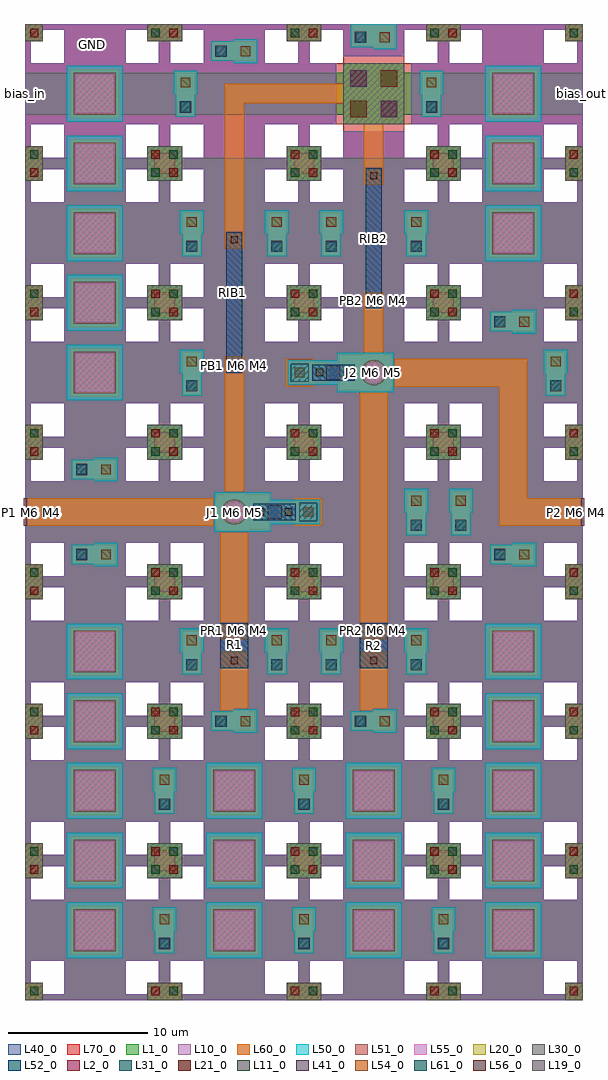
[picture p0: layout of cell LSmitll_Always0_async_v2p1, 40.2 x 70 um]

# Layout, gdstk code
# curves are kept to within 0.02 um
from math import pi, radians
import gdstk
lib = gdstk.Library(unit=1e-6, precision=1e-09)
def R(c, l, rs):  # rectangles x0, y0, x1, y1
    for r in rs: c.add(gdstk.rectangle(r[:2], r[2:], *l))
def P(c, l, *ps):  # polygons
    for p in ps: c.add(gdstk.Polygon(p, *l))
L1_0 = (1, 0)
L2_0 = (2, 0)
L10_0 = (10, 0)
L11_0 = (11, 0)
L19_0 = (19, 0)
L20_0 = (20, 0)
L21_0 = (21, 0)
L30_0 = (30, 0)
L31_0 = (31, 0)
L40_0 = (40, 0)
L41_0 = (41, 0)
L50_0 = (50, 0)
L51_0 = (51, 0)
L52_0 = (52, 0)
L54_0 = (54, 0)
L55_0 = (55, 0)
L56_0 = (56, 0)
L60_0 = (60, 0)
L61_0 = (61, 0)
L70_0 = (70, 0)

ls_fakejj_1p5x1p5um = lib.new_cell('ls_FakeJJ_1p5x1p5um')
R(ls_fakejj_1p5x1p5um, L40_0, [(-1.25,-1.25,1.25,1.25)])
R(ls_fakejj_1p5x1p5um, L50_0, [(-1.25,-1.25,1.25,1.25)])
R(ls_fakejj_1p5x1p5um, L51_0, [(-0.75,-0.75,0.75,0.75)])
R(ls_fakejj_1p5x1p5um, L55_0, [(-0.65,-0.65,0.65,0.65)])
R(ls_fakejj_1p5x1p5um, L60_0, [(-1,-1,1,1)])

ls_conn_m5m6m7 = lib.new_cell('ls_conn_M5M6M7')
R(ls_conn_m5m6m7, L50_0, [(-0.5,-0.5,1.2,1.2)])
R(ls_conn_m5m6m7, L54_0, [(0,0,0.7,0.7)])
R(ls_conn_m5m6m7, L60_0, [(-0.65,-0.65,1.35,1.35)])
R(ls_conn_m5m6m7, L61_0, [(-0.3,-0.3,1,1)])
R(ls_conn_m5m6m7, L70_0, [(-0.65,-0.65,1.35,1.35)])

ls_jj_250_sg = lib.new_cell('ls_jj_250_sg')
R(ls_jj_250_sg, L41_0, [(-0.5,2.4,0.5,3.4)])
R(ls_jj_250_sg, L50_0, [(-1.425,-1.425,1.425,2.625), (-0.875,2.625,0.875,6.175)])
P(ls_jj_250_sg, L51_0, [(0,-0.91),(-0.18,-0.895),(-0.35,-0.84),(-0.645,-0.645),(-0.84,-0.35),(-0.91,0),(-0.895,0.18),(-0.84,0.35),(-0.645,0.645),(-0.35,0.84),(-0.18,0.895),(0,0.91),(0.18,0.895),(0.35,0.84),(0.645,0.645),(0.84,0.35),(0.895,0.18),(0.91,0),(0.84,-0.35),(0.645,-0.645),(0.35,-0.84),(0.18,-0.895)])
R(ls_jj_250_sg, L52_0, [(-0.575,1.35,0.575,4.425)])
R(ls_jj_250_sg, L54_0, [(-0.35,4.95,0.35,5.65)])
P(ls_jj_250_sg, L55_0, [(0,-0.76),(-0.15,-0.75),(-0.29,-0.7),(-0.54,-0.54),(-0.7,-0.29),(-0.75,-0.15),(-0.76,0),(-0.75,0.15),(-0.7,0.29),(-0.54,0.54),(-0.29,0.7),(-0.15,0.75),(0,0.76),(0.15,0.75),(0.29,0.7),(0.54,0.54),(0.7,0.29),(0.75,0.15),(0.76,0),(0.75,-0.15),(0.7,-0.29),(0.54,-0.54),(0.29,-0.7),(0.15,-0.75)])
R(ls_jj_250_sg, L56_0, [(-0.26,1.64,0.26,2.16), (-0.26,3.63,0.26,4.15)])
R(ls_jj_250_sg, L60_0, [(-1.275,-1.275,1.275,2.525), (-0.725,3.25,0.725,6.025)])
ls_jj_250_sg.add(gdstk.Reference(ls_conn_m5m6m7, (-0.35,4.95)))

ls_tr_m7 = lib.new_cell('ls_tr_M7')
P(ls_tr_m7, L70_0, [(0,0),(0,10),(1.25,10),(1.25,8.75),(0.4,8.75),(0.4,1.25),(1.25,1.25),(1.25,0.4),(2.8,0.4),(2.8,2.8),(0.4,2.8),(0.4,7.2),(2.8,7.2),(2.8,9.6),(1.25,9.6),(1.25,10),(7.2,10),(7.2,0.4),(8.75,0.4),(8.75,1.25),(9.6,1.25),(9.6,2.8),(7.2,2.8),(7.2,7.2),(9.6,7.2),(9.6,8.75),(8.75,8.75),(8.75,9.6),(7.2,9.6),(7.2,10),(10,10),(10,0)])

ls_tr_u_m4_alt = lib.new_cell('ls_tr_u_M4_alt')
R(ls_tr_u_m4_alt, L1_0, [(0,0,1.25,1.25), (8.75,0,10,1.25), (0,8.75,1.25,10), (8.75,8.75,10,10)])
R(ls_tr_u_m4_alt, L2_0, [(9.05,0.35,9.65,0.95), (0.35,9.05,0.95,9.65)])
R(ls_tr_u_m4_alt, L10_0, [(0,0,1.25,1.25), (1.25,0,8.75,0.4), (8.75,0,10,1.25), (2.8,0.4,7.2,9.6), (0,1.25,0.4,8.75), (9.6,1.25,10,8.75), (0.4,2.8,2.8,7.2), (7.2,2.8,9.6,7.2), (0,8.75,1.25,10), (8.75,8.75,10,10), (1.25,9.6,8.75,10)])
R(ls_tr_u_m4_alt, L11_0, [(0.35,0.35,0.95,0.95), (9.05,9.05,9.65,9.65)])
R(ls_tr_u_m4_alt, L20_0, [(0,0,1.25,1.25), (8.75,0,10,1.25), (0,8.75,1.25,10), (8.75,8.75,10,10)])
R(ls_tr_u_m4_alt, L21_0, [(9.05,0.35,9.65,0.95), (0.35,9.05,0.95,9.65)])
R(ls_tr_u_m4_alt, L30_0, [(0,0,1.25,1.25), (8.75,0,10,1.25), (0,8.75,1.25,10), (8.75,8.75,10,10)])
R(ls_tr_u_m4_alt, L31_0, [(0.35,0.35,0.95,0.95), (9.05,9.05,9.65,9.65)])
P(ls_tr_u_m4_alt, L40_0, [(0,0),(0,10),(1.25,10),(1.25,8.75),(0.4,8.75),(0.4,1.25),(1.25,1.25),(1.25,0.4),(2.8,0.4),(2.8,2.8),(0.4,2.8),(0.4,7.2),(2.8,7.2),(2.8,9.6),(1.25,9.6),(1.25,10),(7.2,10),(7.2,0.4),(8.75,0.4),(8.75,1.25),(9.6,1.25),(9.6,2.8),(7.2,2.8),(7.2,7.2),(9.6,7.2),(9.6,8.75),(8.75,8.75),(8.75,9.6),(7.2,9.6),(7.2,10),(10,10),(10,0)])
ls_tr_u_m4_alt.add(gdstk.Reference(ls_tr_m7, (0,0)))

ls_conn_m4m5m6m7 = lib.new_cell('ls_conn_M4M5M6M7')
R(ls_conn_m4m5m6m7, L40_0, [(0,0,1.4,1.4)])
R(ls_conn_m4m5m6m7, L41_0, [(0.3,0.3,1.1,1.1)])
P(ls_conn_m4m5m6m7, L50_0, [(1.6,-0.15),(1.6,0),(0,0),(0,1.4),(1.6,1.4),(1.6,1.55),(3.3,1.55),(3.3,-0.15)])
R(ls_conn_m4m5m6m7, L54_0, [(2.1,0.35,2.8,1.05)])
R(ls_conn_m4m5m6m7, L60_0, [(0,0,3.15,1.4)])
R(ls_conn_m4m5m6m7, L61_0, [(0.35,0.35,1.05,1.05)])
R(ls_conn_m4m5m6m7, L70_0, [(0,0,1.4,1.4)])

ls_tr_m0 = lib.new_cell('ls_tr_M0')
P(ls_tr_m0, L1_0, [(0,0),(0,10),(1.25,10),(1.25,8.75),(0.4,8.75),(0.4,1.25),(1.25,1.25),(1.25,0.4),(2.8,0.4),(2.8,2.8),(0.4,2.8),(0.4,7.2),(2.8,7.2),(2.8,9.6),(1.25,9.6),(1.25,10),(7.2,10),(7.2,0.4),(8.75,0.4),(8.75,1.25),(9.6,1.25),(9.6,2.8),(7.2,2.8),(7.2,7.2),(9.6,7.2),(9.6,8.75),(8.75,8.75),(8.75,9.6),(7.2,9.6),(7.2,10),(10,10),(10,0)])

ls_ib_175 = lib.new_cell('ls_ib_175')
R(ls_ib_175, L52_0, [(-0.575,0,0.575,10.05)])
R(ls_ib_175, L56_0, [(-0.26,0.29,0.26,0.81), (-0.26,9.26,0.26,9.78)])
R(ls_ib_175, L60_0, [(-0.625,-0.1,0.625,1.175), (-0.625,8.875,0.625,10.15)])

ls_fakejj_3umx3um = lib.new_cell('ls_FakeJJ_3umx3um')
R(ls_fakejj_3umx3um, L40_0, [(-2,-2,2,2)])
R(ls_fakejj_3umx3um, L50_0, [(-2,-2,2,2)])
R(ls_fakejj_3umx3um, L51_0, [(-1.5,-1.5,1.5,1.5)])
R(ls_fakejj_3umx3um, L55_0, [(-1.4,-1.4,1.4,1.4)])
R(ls_fakejj_3umx3um, L60_0, [(-1.75,-1.75,1.75,1.75)])

ls_tr_bias_pillar_m0m6 = lib.new_cell('ls_tr_bias_pillar_M0M6')
R(ls_tr_bias_pillar_m0m6, L1_0, [(0,0,1.25,1.25), (8.75,0,10,1.25), (2.8,2.8,7.2,7.2), (0,8.75,1.25,10), (8.75,8.75,10,10)])
R(ls_tr_bias_pillar_m0m6, L2_0, [(9.05,0.35,9.65,0.95), (5.5,3.3,6.7,4.5), (3.3,5.5,4.5,6.7), (0.35,9.05,0.95,9.65)])
R(ls_tr_bias_pillar_m0m6, L10_0, [(0,0,1.25,1.25), (8.75,0,10,1.25), (2.8,2.8,7.2,7.2), (0,8.75,1.25,10), (8.75,8.75,10,10)])
P(ls_tr_bias_pillar_m0m6, L10_0, [(0,0),(0,10),(7.2,10),(7.2,7.7),(2.8,7.7),(2.8,9.6),(1.25,9.6),(1.25,8.75),(0.4,8.75),(0.4,7.2),(2.3,7.2),(2.3,2.8),(0.4,2.8),(0.4,1.25),(1.25,1.25),(1.25,0.4),(2.8,0.4),(2.8,2.3),(7.2,2.3),(7.2,0.4),(8.75,0.4),(8.75,1.25),(9.6,1.25),(9.6,2.8),(7.7,2.8),(7.7,7.2),(9.6,7.2),(9.6,8.75),(8.75,8.75),(8.75,9.6),(7.2,9.6),(7.2,10),(10,10),(10,0)])
R(ls_tr_bias_pillar_m0m6, L11_0, [(0.35,0.35,0.95,0.95), (3.3,3.3,4.5,4.5), (5.5,5.5,6.7,6.7), (9.05,9.05,9.65,9.65)])
R(ls_tr_bias_pillar_m0m6, L20_0, [(0,0,1.25,1.25), (8.75,0,10,1.25), (2.8,2.8,7.2,7.2), (0,8.75,1.25,10), (8.75,8.75,10,10)])
R(ls_tr_bias_pillar_m0m6, L21_0, [(9.05,0.35,9.65,0.95), (5.5,3.3,6.7,4.5), (3.3,5.5,4.5,6.7), (0.35,9.05,0.95,9.65)])
R(ls_tr_bias_pillar_m0m6, L30_0, [(0,0,1.25,1.25), (8.75,0,10,1.25), (2.8,2.8,7.2,7.2), (0,8.75,1.25,10), (8.75,8.75,10,10)])
R(ls_tr_bias_pillar_m0m6, L31_0, [(0.35,0.35,0.95,0.95), (3.3,3.3,4.5,4.5), (5.5,5.5,6.7,6.7), (9.05,9.05,9.65,9.65)])
R(ls_tr_bias_pillar_m0m6, L40_0, [(2.8,2.8,7.2,7.2)])
P(ls_tr_bias_pillar_m0m6, L40_0, [(0,0),(0,10),(7.2,10),(7.2,7.7),(2.8,7.7),(2.8,9.6),(1.25,9.6),(1.25,8.75),(0.4,8.75),(0.4,7.2),(2.3,7.2),(2.3,2.8),(0.4,2.8),(0.4,1.25),(1.25,1.25),(1.25,0.4),(2.8,0.4),(2.8,2.3),(7.2,2.3),(7.2,0.4),(8.75,0.4),(8.75,1.25),(9.6,1.25),(9.6,2.8),(7.7,2.8),(7.7,7.2),(9.6,7.2),(9.6,8.75),(8.75,8.75),(8.75,9.6),(7.2,9.6),(7.2,10),(10,10),(10,0)])
R(ls_tr_bias_pillar_m0m6, L41_0, [(5.5,3.3,6.7,4.5), (3.3,5.5,4.5,6.7)])
R(ls_tr_bias_pillar_m0m6, L50_0, [(2.8,2.8,7.2,7.2)])
R(ls_tr_bias_pillar_m0m6, L54_0, [(3.3,3.3,4.5,4.5), (5.5,5.5,6.7,6.7)])
R(ls_tr_bias_pillar_m0m6, L60_0, [(2.8,2.8,7.2,7.2)])
P(ls_tr_bias_pillar_m0m6, L70_0, [(0,0),(0,10),(1.25,10),(1.25,8.75),(0.4,8.75),(0.4,1.25),(1.25,1.25),(1.25,0.4),(2.8,0.4),(2.8,2.8),(0.4,2.8),(0.4,7.2),(2.8,7.2),(2.8,9.6),(1.25,9.6),(1.25,10),(7.2,10),(7.2,0.4),(8.75,0.4),(8.75,1.25),(9.6,1.25),(9.6,2.8),(7.2,2.8),(7.2,7.2),(9.6,7.2),(9.6,8.75),(8.75,8.75),(8.75,9.6),(7.2,9.6),(7.2,10),(10,10),(10,0)])

ls_res_2 = lib.new_cell('ls_res_2')
R(ls_res_2, L52_0, [(-1,0,1,3.225)])
R(ls_res_2, L56_0, [(-0.26,0.29,0.26,0.81), (-0.26,2.44,0.26,2.96)])
R(ls_res_2, L60_0, [(-0.625,-0.1,0.625,1.175), (-0.625,2.075,0.625,3.325)])

lsmitll_always0_async_v2 = lib.new_cell('LSmitll_Always0_async_v2p1')
R(lsmitll_always0_async_v2, L1_0, [(1.25,60,38.75,60.4)])
R(lsmitll_always0_async_v2, L19_0, [(14.74,26.24,15.26,26.76), (24.74,26.24,25.26,26.76), (14.74,45.29,15.26,45.81), (24.74,49.89,25.26,50.41)])
R(lsmitll_always0_async_v2, L50_0, [(23.35,69.75,26.65,70)])
R(lsmitll_always0_async_v2, L60_0, [(23.35,69.75,26.5,70)])
lsmitll_always0_async_v2.add(gdstk.FlexPath([(40,35),(35,35),(35,45),(26.275,45)], 2, ends="flush", simple_path=True, layer=60, datatype=0))  # L60_0
lsmitll_always0_async_v2.add(gdstk.FlexPath([(25,65),(25,58.475)], 1.4, ends="flush", simple_path=True, layer=60, datatype=0))  # L60_0
lsmitll_always0_async_v2.add(gdstk.FlexPath([(25,65),(15,65),(15,53.875)], 1.4, ends="flush", simple_path=True, layer=60, datatype=0))  # L60_0
lsmitll_always0_async_v2.add(gdstk.FlexPath([(25,46.275),(25,50.775)], 1.4, ends="flush", simple_path=True, layer=60, datatype=0))  # L60_0
lsmitll_always0_async_v2.add(gdstk.FlexPath([(15,36.275),(15,46.175)], 1.4, ends="flush", simple_path=True, layer=60, datatype=0))  # L60_0
lsmitll_always0_async_v2.add(gdstk.FlexPath([(25,24.975),(25,20)], 2, ends="flush", simple_path=True, layer=60, datatype=0))  # L60_0
lsmitll_always0_async_v2.add(gdstk.FlexPath([(25,43.725),(25,25.875)], 2, ends="flush", simple_path=True, layer=60, datatype=0))  # L60_0
lsmitll_always0_async_v2.add(gdstk.FlexPath([(0,35),(13.75,35)], 2, ends="flush", simple_path=True, layer=60, datatype=0))  # L60_0
lsmitll_always0_async_v2.add(gdstk.FlexPath([(15,33.75),(15,25.875)], 2, ends="flush", simple_path=True, layer=60, datatype=0))  # L60_0
lsmitll_always0_async_v2.add(gdstk.FlexPath([(15,24.975),(15,20)], 2, ends="flush", simple_path=True, layer=60, datatype=0))  # L60_0
lsmitll_always0_async_v2.add(gdstk.FlexPath([(0,65),(40,65)], 3, ends="flush", simple_path=True, layer=1, datatype=0))  # L1_0
lsmitll_always0_async_v2.add(gdstk.FlexPath([(40,34),(40,36)], 0.2, ends="flush", simple_path=True, layer=19, datatype=0))  # L19_0
lsmitll_always0_async_v2.add(gdstk.FlexPath([(0,34),(0,36)], 0.2, ends="flush", simple_path=True, layer=19, datatype=0))  # L19_0
lsmitll_always0_async_v2.add(gdstk.Reference(ls_fakejj_1p5x1p5um, (20,10)))
lsmitll_always0_async_v2.add(gdstk.Reference(ls_fakejj_1p5x1p5um, (20,20)))
lsmitll_always0_async_v2.add(gdstk.Reference(ls_fakejj_1p5x1p5um, (20,30)))
lsmitll_always0_async_v2.add(gdstk.Reference(ls_fakejj_1p5x1p5um, (20,40)))
lsmitll_always0_async_v2.add(gdstk.Reference(ls_fakejj_1p5x1p5um, (20,50)))
lsmitll_always0_async_v2.add(gdstk.Reference(ls_fakejj_1p5x1p5um, (20,60)))
lsmitll_always0_async_v2.add(gdstk.Reference(ls_jj_250_sg, (15,35), rotation=3*pi/2))
lsmitll_always0_async_v2.add(gdstk.Reference(ls_tr_u_m4_alt, (0,30)))
lsmitll_always0_async_v2.add(gdstk.Reference(ls_tr_u_m4_alt, (10,30)))
lsmitll_always0_async_v2.add(gdstk.Reference(ls_tr_u_m4_alt, (20,30)))
lsmitll_always0_async_v2.add(gdstk.Reference(ls_tr_u_m4_alt, (30,30)))
lsmitll_always0_async_v2.add(gdstk.Reference(ls_jj_250_sg, (25,45), rotation=pi/2))
lsmitll_always0_async_v2.add(gdstk.Reference(ls_conn_m4m5m6m7, (28.75,33.35), rotation=pi/2))
lsmitll_always0_async_v2.add(gdstk.Reference(ls_conn_m4m5m6m7, (31.95,33.35), rotation=pi/2))
lsmitll_always0_async_v2.add(gdstk.Reference(ls_conn_m4m5m6m7, (20.7,13.35), rotation=pi/2))
lsmitll_always0_async_v2.add(gdstk.Reference(ls_conn_m4m5m6m7, (20.7,3.35), rotation=pi/2))
lsmitll_always0_async_v2.add(gdstk.Reference(ls_tr_m0, (0,30)))
lsmitll_always0_async_v2.add(gdstk.Reference(ls_tr_m0, (10,30)))
lsmitll_always0_async_v2.add(gdstk.Reference(ls_tr_m0, (20,30)))
lsmitll_always0_async_v2.add(gdstk.Reference(ls_tr_m0, (30,30)))
lsmitll_always0_async_v2.add(gdstk.Reference(ls_fakejj_1p5x1p5um, (30,60)))
lsmitll_always0_async_v2.add(gdstk.Reference(ls_ib_175, (25,49.6)))
lsmitll_always0_async_v2.add(gdstk.Reference(ls_conn_m4m5m6m7, (33.35,47.95)))
lsmitll_always0_async_v2.add(gdstk.Reference(ls_fakejj_1p5x1p5um, (30,40)))
lsmitll_always0_async_v2.add(gdstk.Reference(ls_tr_u_m4_alt, (20,50)))
lsmitll_always0_async_v2.add(gdstk.Reference(ls_conn_m4m5m6m7, (38.75,43.35), rotation=pi/2))
lsmitll_always0_async_v2.add(gdstk.Reference(ls_conn_m4m5m6m7, (29.85,63.35), rotation=pi/2))
lsmitll_always0_async_v2.add(gdstk.Reference(ls_conn_m4m5m6m7, (28.75,53.35), rotation=pi/2))
lsmitll_always0_async_v2.add(gdstk.Reference(ls_conn_m4m5m6m7, (22.65,53.35), rotation=pi/2))
lsmitll_always0_async_v2.add(gdstk.Reference(ls_conn_m4m5m6m7, (23.35,68.35)))
lsmitll_always0_async_v2.add(gdstk.Reference(ls_fakejj_3umx3um, (35,65)))
lsmitll_always0_async_v2.add(gdstk.Reference(ls_fakejj_3umx3um, (35,60)))
lsmitll_always0_async_v2.add(gdstk.Reference(ls_fakejj_3umx3um, (35,55)))
lsmitll_always0_async_v2.add(gdstk.Reference(ls_tr_u_m4_alt, (20,40)))
lsmitll_always0_async_v2.add(gdstk.Reference(ls_tr_bias_pillar_m0m6, (20,60)))
lsmitll_always0_async_v2.add(gdstk.Reference(ls_fakejj_1p5x1p5um, (30,50)))
lsmitll_always0_async_v2.add(gdstk.Reference(ls_tr_u_m4_alt, (30,40)))
lsmitll_always0_async_v2.add(gdstk.Reference(ls_tr_u_m4_alt, (30,50)))
lsmitll_always0_async_v2.add(gdstk.Reference(ls_tr_u_m4_alt, (30,60)))
lsmitll_always0_async_v2.add(gdstk.Reference(ls_tr_m0, (30,40)))
lsmitll_always0_async_v2.add(gdstk.Reference(ls_tr_m0, (20,40)))
lsmitll_always0_async_v2.add(gdstk.Reference(ls_tr_m0, (20,50)))
lsmitll_always0_async_v2.add(gdstk.Reference(ls_tr_m0, (30,50)))
lsmitll_always0_async_v2.add(gdstk.Reference(ls_conn_m4m5m6m7, (18.75,53.35), rotation=pi/2))
lsmitll_always0_async_v2.add(gdstk.Reference(ls_fakejj_1p5x1p5um, (10,40)))
lsmitll_always0_async_v2.add(gdstk.Reference(ls_conn_m4m5m6m7, (13.35,67.35)))
lsmitll_always0_async_v2.add(gdstk.Reference(ls_fakejj_3umx3um, (5,50)))
lsmitll_always0_async_v2.add(gdstk.Reference(ls_fakejj_3umx3um, (5,45)))
lsmitll_always0_async_v2.add(gdstk.Reference(ls_fakejj_3umx3um, (5,55)))
lsmitll_always0_async_v2.add(gdstk.Reference(ls_fakejj_3umx3um, (5,60)))
lsmitll_always0_async_v2.add(gdstk.Reference(ls_fakejj_3umx3um, (5,65)))
lsmitll_always0_async_v2.add(gdstk.Reference(ls_tr_u_m4_alt, (10,40)))
lsmitll_always0_async_v2.add(gdstk.Reference(ls_tr_u_m4_alt, (10,50)))
lsmitll_always0_async_v2.add(gdstk.Reference(ls_conn_m4m5m6m7, (3.35,37.35)))
lsmitll_always0_async_v2.add(gdstk.Reference(ls_tr_u_m4_alt, (10,60)))
lsmitll_always0_async_v2.add(gdstk.Reference(ls_ib_175, (15,45)))
lsmitll_always0_async_v2.add(gdstk.Reference(ls_fakejj_1p5x1p5um, (10,50)))
lsmitll_always0_async_v2.add(gdstk.Reference(ls_tr_u_m4_alt, (0,60)))
lsmitll_always0_async_v2.add(gdstk.Reference(ls_conn_m4m5m6m7, (12.65,43.35), rotation=pi/2))
lsmitll_always0_async_v2.add(gdstk.Reference(ls_conn_m4m5m6m7, (12.65,53.35), rotation=pi/2))
lsmitll_always0_async_v2.add(gdstk.Reference(ls_conn_m4m5m6m7, (12.2,63.35), rotation=pi/2))
lsmitll_always0_async_v2.add(gdstk.Reference(ls_tr_u_m4_alt, (0,50)))
lsmitll_always0_async_v2.add(gdstk.Reference(ls_tr_m0, (10,40)))
lsmitll_always0_async_v2.add(gdstk.Reference(ls_tr_m0, (0,40)))
lsmitll_always0_async_v2.add(gdstk.Reference(ls_tr_m0, (0,50)))
lsmitll_always0_async_v2.add(gdstk.Reference(ls_tr_m0, (10,50)))
lsmitll_always0_async_v2.add(gdstk.Reference(ls_tr_u_m4_alt, (0,40)))
lsmitll_always0_async_v2.add(gdstk.Reference(ls_fakejj_1p5x1p5um, (10,60)))
lsmitll_always0_async_v2.add(gdstk.Reference(ls_fakejj_3umx3um, (5,10)))
lsmitll_always0_async_v2.add(gdstk.Reference(ls_fakejj_3umx3um, (15,10)))
lsmitll_always0_async_v2.add(gdstk.Reference(ls_fakejj_3umx3um, (5,20)))
lsmitll_always0_async_v2.add(gdstk.Reference(ls_fakejj_3umx3um, (5,25)))
lsmitll_always0_async_v2.add(gdstk.Reference(ls_tr_u_m4_alt, (0,10)))
lsmitll_always0_async_v2.add(gdstk.Reference(ls_tr_u_m4_alt, (0,0)))
lsmitll_always0_async_v2.add(gdstk.Reference(ls_res_2, (15,23.8)))
lsmitll_always0_async_v2.add(gdstk.Reference(ls_tr_u_m4_alt, (10,0)))
lsmitll_always0_async_v2.add(gdstk.Reference(ls_conn_m4m5m6m7, (3.35,31.25)))
lsmitll_always0_async_v2.add(gdstk.Reference(ls_tr_u_m4_alt, (10,10)))
lsmitll_always0_async_v2.add(gdstk.Reference(ls_tr_u_m4_alt, (10,20)))
lsmitll_always0_async_v2.add(gdstk.Reference(ls_fakejj_1p5x1p5um, (10,30)))
lsmitll_always0_async_v2.add(gdstk.Reference(ls_tr_m0, (10,0)))
lsmitll_always0_async_v2.add(gdstk.Reference(ls_conn_m4m5m6m7, (10.7,13.35), rotation=pi/2))
lsmitll_always0_async_v2.add(gdstk.Reference(ls_conn_m4m5m6m7, (10.7,3.35), rotation=pi/2))
lsmitll_always0_async_v2.add(gdstk.Reference(ls_tr_m0, (0,0)))
lsmitll_always0_async_v2.add(gdstk.Reference(ls_tr_m0, (10,20)))
lsmitll_always0_async_v2.add(gdstk.Reference(ls_tr_m0, (0,20)))
lsmitll_always0_async_v2.add(gdstk.Reference(ls_conn_m4m5m6m7, (13.35,19.3)))
lsmitll_always0_async_v2.add(gdstk.Reference(ls_fakejj_3umx3um, (15,5)))
lsmitll_always0_async_v2.add(gdstk.Reference(ls_fakejj_3umx3um, (5,5)))
lsmitll_always0_async_v2.add(gdstk.Reference(ls_fakejj_1p5x1p5um, (10,10)))
lsmitll_always0_async_v2.add(gdstk.Reference(ls_tr_m0, (0,10)))
lsmitll_always0_async_v2.add(gdstk.Reference(ls_tr_m0, (10,10)))
lsmitll_always0_async_v2.add(gdstk.Reference(ls_conn_m4m5m6m7, (18.75,23.35), rotation=pi/2))
lsmitll_always0_async_v2.add(gdstk.Reference(ls_conn_m4m5m6m7, (12.65,23.35), rotation=pi/2))
lsmitll_always0_async_v2.add(gdstk.Reference(ls_fakejj_1p5x1p5um, (10,20)))
lsmitll_always0_async_v2.add(gdstk.Reference(ls_tr_u_m4_alt, (0,20)))
lsmitll_always0_async_v2.add(gdstk.Reference(ls_fakejj_3umx3um, (5,15)))
lsmitll_always0_async_v2.add(gdstk.Reference(ls_fakejj_3umx3um, (15,15)))
lsmitll_always0_async_v2.add(gdstk.Reference(ls_tr_u_m4_alt, (20,0)))
lsmitll_always0_async_v2.add(gdstk.Reference(ls_tr_u_m4_alt, (30,0)))
lsmitll_always0_async_v2.add(gdstk.Reference(ls_tr_u_m4_alt, (30,10)))
lsmitll_always0_async_v2.add(gdstk.Reference(ls_tr_u_m4_alt, (30,20)))
lsmitll_always0_async_v2.add(gdstk.Reference(ls_res_2, (25,23.8)))
lsmitll_always0_async_v2.add(gdstk.Reference(ls_fakejj_1p5x1p5um, (30,10)))
lsmitll_always0_async_v2.add(gdstk.Reference(ls_fakejj_1p5x1p5um, (30,20)))
lsmitll_always0_async_v2.add(gdstk.Reference(ls_fakejj_3umx3um, (35,5)))
lsmitll_always0_async_v2.add(gdstk.Reference(ls_fakejj_3umx3um, (25,5)))
lsmitll_always0_async_v2.add(gdstk.Reference(ls_conn_m4m5m6m7, (30.7,13.35), rotation=pi/2))
lsmitll_always0_async_v2.add(gdstk.Reference(ls_conn_m4m5m6m7, (22.65,23.35), rotation=pi/2))
lsmitll_always0_async_v2.add(gdstk.Reference(ls_conn_m4m5m6m7, (28.75,23.35), rotation=pi/2))
lsmitll_always0_async_v2.add(gdstk.Reference(ls_conn_m4m5m6m7, (30.7,3.35), rotation=pi/2))
lsmitll_always0_async_v2.add(gdstk.Reference(ls_tr_m0, (30,0)))
lsmitll_always0_async_v2.add(gdstk.Reference(ls_tr_m0, (30,20)))
lsmitll_always0_async_v2.add(gdstk.Reference(ls_tr_m0, (20,20)))
lsmitll_always0_async_v2.add(gdstk.Reference(ls_tr_m0, (20,0)))
lsmitll_always0_async_v2.add(gdstk.Reference(ls_conn_m4m5m6m7, (23.35,19.3)))
lsmitll_always0_async_v2.add(gdstk.Reference(ls_fakejj_1p5x1p5um, (30,30)))
lsmitll_always0_async_v2.add(gdstk.Reference(ls_tr_m0, (20,10)))
lsmitll_always0_async_v2.add(gdstk.Reference(ls_fakejj_3umx3um, (25,15)))
lsmitll_always0_async_v2.add(gdstk.Reference(ls_fakejj_3umx3um, (35,15)))
lsmitll_always0_async_v2.add(gdstk.Reference(ls_conn_m4m5m6m7, (33.35,31.25)))
lsmitll_always0_async_v2.add(gdstk.Reference(ls_tr_m0, (30,10)))
lsmitll_always0_async_v2.add(gdstk.Reference(ls_fakejj_3umx3um, (25,10)))
lsmitll_always0_async_v2.add(gdstk.Reference(ls_fakejj_3umx3um, (35,10)))
lsmitll_always0_async_v2.add(gdstk.Reference(ls_fakejj_3umx3um, (35,20)))
lsmitll_always0_async_v2.add(gdstk.Reference(ls_tr_u_m4_alt, (20,20)))
lsmitll_always0_async_v2.add(gdstk.Reference(ls_tr_u_m4_alt, (20,10)))
lsmitll_always0_async_v2.add(gdstk.Reference(ls_fakejj_3umx3um, (35,25)))
lsmitll_always0_async_v2.add(gdstk.Label('PR2 M6 M4', (25,26.5), layer=182, texttype=0))
lsmitll_always0_async_v2.add(gdstk.Label('PR1 M6 M4', (15,26.51), layer=182, texttype=0))
lsmitll_always0_async_v2.add(gdstk.Label('PB2 M6 M4', (25,50.14), layer=182, texttype=0))
lsmitll_always0_async_v2.add(gdstk.Label('J2 M6 M5', (25,45), layer=182, texttype=0))
lsmitll_always0_async_v2.add(gdstk.Label('P2 M6 M4', (40,35), layer=182, texttype=0))
lsmitll_always0_async_v2.add(gdstk.Label('PB1 M6 M4', (15,45.54), layer=182, texttype=0))
lsmitll_always0_async_v2.add(gdstk.Label('J1 M6 M5', (15,35), layer=182, texttype=0))
lsmitll_always0_async_v2.add(gdstk.Label('P1 M6 M4', (0,35), layer=182, texttype=0))
lsmitll_always0_async_v2.add(gdstk.Label('bias_out', (40,65), layer=182, texttype=0))
lsmitll_always0_async_v2.add(gdstk.Label('bias_in', (0,65), layer=182, texttype=0))
lsmitll_always0_async_v2.add(gdstk.Label('q', (40,35), layer=182, texttype=0))
lsmitll_always0_async_v2.add(gdstk.Label('a', (0,35), layer=182, texttype=0))
lsmitll_always0_async_v2.add(gdstk.Label('GND', (4.825,68.55), layer=40, texttype=1))
lsmitll_always0_async_v2.add(gdstk.Label('VDD', (1.375,65.725), layer=1, texttype=1))
lsmitll_always0_async_v2.add(gdstk.Label('a', (0.05,34.075), layer=60, texttype=1))
lsmitll_always0_async_v2.add(gdstk.Label('q', (39.95,34.075), layer=60, texttype=1))
lsmitll_always0_async_v2.add(gdstk.Label('RIB1', (14.9,50.725), layer=52, texttype=1))
lsmitll_always0_async_v2.add(gdstk.Label('RIB2', (24.975,54.625), layer=52, texttype=1))
lsmitll_always0_async_v2.add(gdstk.Label('RB1', (17.925,34.975), layer=52, texttype=1))
lsmitll_always0_async_v2.add(gdstk.Label('RB2', (22.1,45), layer=52, texttype=1))
lsmitll_always0_async_v2.add(gdstk.Label('R1', (15,25.475), layer=52, texttype=1))
lsmitll_always0_async_v2.add(gdstk.Label('R2', (24.975,25.425), layer=52, texttype=1))

lib.write_gds('LSmitll_Always0_async_v2p1.gds')
